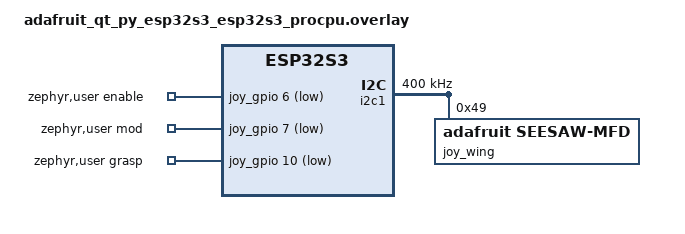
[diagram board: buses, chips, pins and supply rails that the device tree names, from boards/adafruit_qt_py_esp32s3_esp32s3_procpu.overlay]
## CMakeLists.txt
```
cmake_minimum_required(VERSION 3.20.0)

find_package(Zephyr REQUIRED HINTS $ENV{ZEPHYR_BASE})
project(joystick_controller)

# Must be set before picoros.cmake is included.
set(PICOROS_USER_TYPE_FILE "${CMAKE_CURRENT_LIST_DIR}/src/teleop_types.h")
include(${CMAKE_CURRENT_LIST_DIR}/../common/picoros/picoros.cmake)
include(${CMAKE_CURRENT_LIST_DIR}/../common/time/time.cmake)

# The main loop owns reconnects so it can force an enable re-toggle; zenoh's own
# silent reopen would resume publishing behind its back.
zephyr_compile_definitions(Z_FEATURE_AUTO_RECONNECT=0)

target_sources(app PRIVATE
  src/main.c
  src/teleop.c
  src/calibrate.c
)
```

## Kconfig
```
mainmenu "Joystick controller"

choice APP_TELEOP_TARGET
	prompt "What the stick drives"
	default APP_TELEOP_TARGET_ARM

config APP_TELEOP_TARGET_ARM
	bool "Arm end effector (MoveIt Servo)"
	help
	  geometry_msgs/TwistStamped for MoveIt Servo; the mod input switches
	  the stick from x/y/yaw to lift/pitch/roll, and the grasp input
	  publishes std_msgs/Bool. Servo drops commands whose stamp is older
	  than its incoming_command_timeout (0.1 s by default), so this needs
	  SNTP time agreeing with the ROS host: point APP_TIME_SNTP_SERVER at
	  the host's NTP server.

config APP_TELEOP_TARGET_BASE
	bool "Mobile base (cmd_vel)"
	help
	  geometry_msgs/Twist on cmd_vel; mod and grasp are ignored.

endchoice

menuconfig APP_PICOROS
	bool "Publish teleop commands over Pico-ROS"
	select PICOROS
	default y

if APP_PICOROS

config APP_PICOROS_LOCATOR
	string "Zenoh locator for the host router"
	default "tcp/192.168.1.10:7447"
	help
	  '<protocol>/<host>:<port>' of the rmw_zenohd router on the ROS 2 host.

config APP_PICOROS_NODE_NAME
	string "ROS 2 node name"
	default "joystick_controller"

config APP_PICOROS_DOMAIN_ID
	int "ROS domain ID"
	default 0
	range 0 232

config APP_PICOROS_CMD_VEL_TOPIC
	string "ROS topic for geometry_msgs/Twist"
	default "cmd_vel"
	depends on APP_TELEOP_TARGET_BASE
	help
	  Fully qualified topic name without the leading slash.

config APP_PICOROS_SERVO_TOPIC
	string "ROS topic for geometry_msgs/TwistStamped"
	default "servo_node/delta_twist_cmds"
	depends on APP_TELEOP_TARGET_ARM
	help
	  MoveIt Servo's cartesian_command_in_topic, fully qualified, without
	  the leading slash.

config APP_PICOROS_SERVO_FRAME_ID
	string "Frame the twist is expressed in"
	default "base_link"
	depends on APP_TELEOP_TARGET_ARM
	help
	  Servo transforms the command from this frame into its planning
	  frame; use the end-effector frame to jog in tool coordinates.

config APP_PICOROS_GRASP_TOPIC
	string "ROS topic for the grasp std_msgs/Bool"
	default "grasp"
	depends on APP_TELEOP_TARGET_ARM

endif # APP_PICOROS

config APP_TELEOP_PUBLISH_HZ
	int "Twist publish rate while the stick is deflected"
	default 20
	range 1 100
	help
	  Keep the period well inside the robot's command timeout (e.g.
	  twist_mux timeouts), which is what stops the robot if this controller
	  loses power or its link.

config APP_TELEOP_MAX_LINEAR_MM_S
	int "Linear speed at full stick deflection (mm/s)"
	default 500

config APP_TELEOP_MAX_ANGULAR_MRAD_S
	int "Angular speed at full twist deflection (mrad/s)"
	default 1000

rsource "../common/picoros/Kconfig"
rsource "../common/time/Kconfig"

source "Kconfig.zephyr"
```

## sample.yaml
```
# This file is provided so that the application can be compiled using Twister,
# the Zephyr testing tool. In this file, multiple combinations can be specified,
# so that you can easily test all of them locally or in CI.
sample:
  description: Joystick controller application
  name: joystick-controller 
common:
  build_only: true
  integration_platforms:
    - adafruit_qt_py_esp32s3/esp32s3/procpu
tests:
  app.default: {}
#  app.debug:
#    extra_overlay_confs:
#      - debug.conf
```

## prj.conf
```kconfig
CONFIG_LOG=y
CONFIG_SHELL=y

# Bootloader
CONFIG_BOOTLOADER_MCUBOOT=y
CONFIG_MCUBOOT_SIGNATURE_KEY_FILE="bootloader/mcuboot/root-rsa-2048.pem"
CONFIG_FLASH=y
CONFIG_FLASH_MAP=y

# Settings: persists analog-axis calibration (teleop cal)
CONFIG_ZMS=y
CONFIG_SETTINGS=y

# Inputs: analog-axis + gpio-keys from devicetree
CONFIG_INPUT=y
CONFIG_ADC=y

# Networking. The link (Wi-Fi or Ethernet) comes from the board .conf.
CONFIG_NETWORKING=y
CONFIG_NET_IPV4=y
CONFIG_NET_DHCPV4=y
CONFIG_NET_TCP=y
CONFIG_NET_SOCKETS=y
CONFIG_NET_MGMT=y
CONFIG_NET_MGMT_EVENT=y
CONFIG_NET_CONNECTION_MANAGER=y
CONFIG_DNS_RESOLVER=y
# A 2 KB zenoh batch spans 16 of the 128-byte TX buffers (see rasprover).
CONFIG_NET_BUF_TX_COUNT=64
CONFIG_NET_PKT_TX_COUNT=24

# Pico-ROS / zenoh-pico. Sizing rationale in applications/rasprover/prj.conf.
CONFIG_ZENOH_PICO_LINK_TCP=y
CONFIG_ZENOH_PICO_THREADS_NUM=2
CONFIG_MAIN_STACK_SIZE=4096
CONFIG_HEAP_MEM_POOL_SIZE=73728

# MoveIt Servo rejects stamps older than 0.1 s: resync often enough that
# crystal drift (~50 ppm) stays a few ms. Ignored when time sync is off.
CONFIG_APP_TIME_SNTP_RESYNC_SEC=60
```

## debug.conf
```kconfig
# compiler
CONFIG_DEBUG_OPTIMIZATIONS=y

# Make Logging more responsive for better visualization
CONFIG_LOG_PROCESS_TRIGGER_THRESHOLD=1

# Shell Testing
CONFIG_I2C_SHELL=y
# Bench bring-up: `input dump on` for stick events, `gpio get` for the
# enable/mod/grasp switches, `net iface` for the link and DHCP state.
CONFIG_INPUT_SHELL=y
CONFIG_INPUT_EVENT_DUMP=y
CONFIG_GPIO_SHELL=y
CONFIG_NET_SHELL=y
```

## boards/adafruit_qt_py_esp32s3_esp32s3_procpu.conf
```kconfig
# Wi-Fi via conn_mgr + stored credentials (rosterloh-drivers wifi_connectivity).
# Provision over the shell: wifi cred add -s <ssid> -k 1 -p <psk>
CONFIG_WIFI=y
CONFIG_NET_L2_WIFI_MGMT=y
CONFIG_NET_CONNECTION_MANAGER_CONNECTIVITY_WIFI_MGMT=y
CONFIG_WIFI_CREDENTIALS=y
CONFIG_WIFI_CONNECTIVITY=y
CONFIG_NET_L2_WIFI_SHELL=y
# Wi-Fi reconnect runs on the system workqueue (see rasprover prj.conf).
CONFIG_SYSTEM_WORKQUEUE_STACK_SIZE=3072

CONFIG_I2C=y
```

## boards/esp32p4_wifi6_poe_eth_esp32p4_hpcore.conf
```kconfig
# Wired Ethernet (RMII EMAC + IP101 PHY), DHCP from prj.conf.
CONFIG_NET_L2_ETHERNET=y
CONFIG_ETH_ESP32=y
# Hard FPU: without sharing, float registers aren't saved across thread switches.
CONFIG_FPU_SHARING=y
```

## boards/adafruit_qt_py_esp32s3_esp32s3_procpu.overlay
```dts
#include <zephyr/dt-bindings/adc/adc.h>
#include <zephyr/dt-bindings/gpio/gpio.h>
#include <zephyr/dt-bindings/input/input-event-codes.h>

/*
 * Adafruit Joy FeatherWing (seesaw SAMD09 @ 0x49) on the STEMMA QT bus.
 * 2-axis stick only, so no yaw (or roll with mod). Enable = button A, held
 * (momentary, so it acts as a deadman); mod = B; grasp = X.
 *
 * Verify on hardware: the X/Y channel order, the invert flags and button A's
 * pin. From Adafruit's Joy FeatherWing guide: stick on seesaw pins 2/3
 * (logical ADC 0/1), buttons A=6, B=7, Y=9, X=10, Select=14. The INT pin is
 * not wired to the QT Py, so the buttons are polled.
 *
 * Needs rosterloh/zephyr-drivers#50 (SAMD09 ADC channel offset); before it,
 * channels 0/1 read the unconnected inputs 2/3.
 */

&i2c1 {
	clock-frequency = <I2C_BITRATE_FAST>;

	joy_wing: seesaw@49 {
		compatible = "adafruit,seesaw-mfd";
		reg = <0x49>;

		joy_adc: adc {
			compatible = "adafruit,seesaw-adc";
			#io-channel-cells = <1>;
			#address-cells = <1>;
			#size-cells = <0>;

			channel@0 {
				reg = <0>;
				zephyr,gain = "ADC_GAIN_1";
				zephyr,reference = "ADC_REF_INTERNAL";
				zephyr,acquisition-time = <ADC_ACQ_TIME_DEFAULT>;
				zephyr,resolution = <10>;
			};

			channel@1 {
				reg = <1>;
				zephyr,gain = "ADC_GAIN_1";
				zephyr,reference = "ADC_REF_INTERNAL";
				zephyr,acquisition-time = <ADC_ACQ_TIME_DEFAULT>;
				zephyr,resolution = <10>;
			};
		};

		joy_gpio: gpio {
			compatible = "adafruit,seesaw-gpio";
			gpio-controller;
			#gpio-cells = <2>;
		};
	};
};

/ {
	joystick: analog-axis {
		compatible = "analog-axis";
		poll-period-ms = <15>;

		axis-x {
			io-channels = <&joy_adc 0>;
			in-min = <0>;
			in-max = <1023>;
			in-deadzone = <40>;
			out-min = <(-1000)>;
			out-max = <1000>;
			zephyr,axis = <INPUT_ABS_X>;
		};

		axis-y {
			io-channels = <&joy_adc 1>;
			in-min = <0>;
			in-max = <1023>;
			in-deadzone = <40>;
			out-min = <(-1000)>;
			out-max = <1000>;
			zephyr,axis = <INPUT_ABS_Y>;
		};
	};

	/* Read directly by main every tick: if the seesaw stops answering, the
	 * read fails and every button counts as off instead of stuck on.
	 */
	zephyr,user {
		enable-gpios = <&joy_gpio 6 (GPIO_ACTIVE_LOW | GPIO_PULL_UP)>;
		mod-gpios = <&joy_gpio 7 (GPIO_ACTIVE_LOW | GPIO_PULL_UP)>;
		grasp-gpios = <&joy_gpio 10 (GPIO_ACTIVE_LOW | GPIO_PULL_UP)>;
	};
};
```

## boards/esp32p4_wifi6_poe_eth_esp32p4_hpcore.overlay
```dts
#include <zephyr/dt-bindings/adc/adc.h>
#include <zephyr/dt-bindings/gpio/gpio.h>
#include <zephyr/dt-bindings/input/input-event-codes.h>

/*
 * HZQS R400B-M4 4-axis joystick (10 kOhm pots, 50 degrees: the full stick
 * travel, so close to the full ADC range) in mechanical-parts/joystick-p4-box,
 * with its enable rocker and mod button, on the Raspberry Pi layout header:
 *
 *   input   GPIO  header pin   wiring
 *   X       20    13           X pot wiper (ADC1 ch4)
 *   Y       21    11           Y pot wiper (ADC1 ch5)
 *   Z       22    12           handle pot black, its wiper (ADC1 ch6)
 *   pots    -     1 / 6        3V3 / GND: handle pot red / white, X and Y pot
 *                              outer lugs daisy-chained to them
 *   grasp   23    7            handle button, blue/blue, other side to GND
 *   enable  6     15           Arcolectric H8600 rocker (latching), to GPIO5
 *   (gnd)   5     16           driven low by a hog: the rocker's 2x1 plug
 *                              has no GND beside pin 15
 *   mod     48    33           RAFI 1.10.001.001 button (normally closed), to GND pin 34
 *
 * Not the BOOT button: GPIO35 is shared with RMII TXD1 while Ethernet is up.
 * in-min/in-max are full scale until `teleop cal` stores the real range. Which
 * outer pot lug gets 3V3 sets the axis sign; fix a wrong one with
 * invert-output.
 */

&adc0 {
	#address-cells = <1>;
	#size-cells = <0>;
	status = "okay";

	channel@4 {
		reg = <4>;
		zephyr,gain = "ADC_GAIN_1_4";
		zephyr,reference = "ADC_REF_INTERNAL";
		zephyr,acquisition-time = <ADC_ACQ_TIME_DEFAULT>;
		zephyr,resolution = <12>;
	};

	channel@5 {
		reg = <5>;
		zephyr,gain = "ADC_GAIN_1_4";
		zephyr,reference = "ADC_REF_INTERNAL";
		zephyr,acquisition-time = <ADC_ACQ_TIME_DEFAULT>;
		zephyr,resolution = <12>;
	};

	channel@6 {
		reg = <6>;
		zephyr,gain = "ADC_GAIN_1_4";
		zephyr,reference = "ADC_REF_INTERNAL";
		zephyr,acquisition-time = <ADC_ACQ_TIME_DEFAULT>;
		zephyr,resolution = <12>;
	};
};

&gpio0 {
	enable-gnd-hog {
		gpio-hog;
		gpios = <5 GPIO_ACTIVE_HIGH>;
		output-low;
		line-name = "enable-gnd";
	};
};

/ {
	/* One analog-axis per channel: without CONFIG_ADC_ESP32_DMA the ESP32 ADC
	 * driver rejects multi-channel sequences with -ENOTSUP.
	 */
	stick_x: stick-x {
		compatible = "analog-axis";
		poll-period-ms = <15>;

		axis {
			io-channels = <&adc0 4>;
			in-min = <0>;
			in-max = <4095>;
			in-deadzone = <80>;
			out-min = <(-1000)>;
			out-max = <1000>;
			zephyr,axis = <INPUT_ABS_X>;
		};
	};

	stick_y: stick-y {
		compatible = "analog-axis";
		poll-period-ms = <15>;

		axis {
			io-channels = <&adc0 5>;
			in-min = <0>;
			in-max = <4095>;
			in-deadzone = <80>;
			out-min = <(-1000)>;
			out-max = <1000>;
			zephyr,axis = <INPUT_ABS_Y>;
		};
	};

	stick_rz: stick-rz {
		compatible = "analog-axis";
		poll-period-ms = <15>;

		axis {
			io-channels = <&adc0 6>;
			/* Clockwise raises the wiper; ROS wants anticlockwise positive.
			 * Needs zephyr/patches 0004 for a signed out range.
			 */
			invert-output;
			in-min = <0>;
			in-max = <4095>;
			in-deadzone = <80>;
			out-min = <(-1000)>;
			out-max = <1000>;
			zephyr,axis = <INPUT_ABS_RZ>;
		};
	};

	/* Read directly by main every tick, so a failed read counts as off. */
	zephyr,user {
		enable-gpios = <&gpio0 6 (GPIO_ACTIVE_LOW | GPIO_PULL_UP)>;
		/* Normally closed: shorted to GND at rest, so pressed reads high. */
		mod-gpios = <&gpio1 16 (GPIO_ACTIVE_HIGH | GPIO_PULL_UP)>; /* GPIO48 */
		grasp-gpios = <&gpio0 23 (GPIO_ACTIVE_LOW | GPIO_PULL_UP)>;
	};
};
```

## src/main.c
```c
#include <string.h>

#include <zephyr/drivers/gpio.h>
#include <zephyr/input/input.h>
#include <zephyr/kernel.h>
#include <zephyr/logging/log.h>
#include <zephyr/net/conn_mgr_connectivity.h>
#include <zephyr/net/conn_mgr_monitor.h>
#include <zephyr/net/dhcpv4.h>
#include <zephyr/net/ethernet.h>
#include <zephyr/net/net_event.h>
#include <zephyr/net/net_if.h>
#include <zephyr/net/net_mgmt.h>
#include <zephyr/settings/settings.h>

#include <picoros.h>
#include <picoserdes.h>

#include "app_time.h"
#include "teleop.h"

LOG_MODULE_REGISTER(app, LOG_LEVEL_INF);

#define PERIOD_MS   (1000 / CONFIG_APP_TELEOP_PUBLISH_HZ)
#define RETRY_DELAY K_SECONDS(2)
#define ARM         IS_ENABLED(CONFIG_APP_TELEOP_TARGET_ARM)
/* ps_serialize cannot report overflow, so this must stay a worst case. Twist is
 * 4 (encapsulation) + 6 doubles = 52 bytes. TwistStamped adds the header before
 * the doubles: stamp 8, frame_id length 4 plus its bytes and NUL, then up to 7
 * of padding to align the first double: 71 + sizeof(frame_id).
 */
#ifdef CONFIG_APP_TELEOP_TARGET_ARM
#define MSG_BUF_SIZE (72 + sizeof(CONFIG_APP_PICOROS_SERVO_FRAME_ID))
#else
#define MSG_BUF_SIZE 64
#endif

static atomic_t axis_x, axis_y, axis_rz, l4_up;

#define USER_NODE DT_PATH(zephyr_user)
static const struct gpio_dt_spec enable_sw = GPIO_DT_SPEC_GET(USER_NODE, enable_gpios);
/* Optional: a board without them never shifts the stick or grasps. */
static const struct gpio_dt_spec mod_sw = GPIO_DT_SPEC_GET_OR(USER_NODE, mod_gpios, {0});
static const struct gpio_dt_spec grasp_sw = GPIO_DT_SPEC_GET_OR(USER_NODE, grasp_gpios, {0});

static int switch_init(const struct gpio_dt_spec *sw)
{
	if (sw->port == NULL) {
		return 0;
	}
	if (!gpio_is_ready_dt(sw)) {
		return -ENODEV;
	}
	return gpio_pin_configure_dt(sw, GPIO_INPUT);
}

/* Absent, or a failed read (e.g. seesaw I2C gone), counts as off. */
static bool switch_on(const struct gpio_dt_spec *sw)
{
	return sw->port != NULL && gpio_pin_get_dt(sw) > 0;
}

static void input_cb(struct input_event *evt, void *user_data)
{
	ARG_UNUSED(user_data);

	switch (evt->code) {
	case INPUT_ABS_X:
		atomic_set(&axis_x, evt->value);
		break;
	case INPUT_ABS_Y:
		atomic_set(&axis_y, evt->value);
		break;
	case INPUT_ABS_RZ:
		atomic_set(&axis_rz, evt->value);
		break;
	default:
		break;
	}
}
INPUT_CALLBACK_DEFINE(NULL, input_cb, NULL);

static struct net_mgmt_event_callback l4_cb;

static void l4_handler(struct net_mgmt_event_callback *cb, uint64_t event, struct net_if *iface)
{
	atomic_set(&l4_up, event == NET_EVENT_L4_CONNECTED);
}

static picoros_node_t node = {
	.name = CONFIG_APP_PICOROS_NODE_NAME,
	.domain_id = CONFIG_APP_PICOROS_DOMAIN_ID,
};

/* ROSTYPE_NAME token-pastes its argument, so the type can't come from a macro. */
#ifdef CONFIG_APP_TELEOP_TARGET_ARM
static picoros_publisher_t pub_twist = {
	.topic =
		{
			.name = CONFIG_APP_PICOROS_SERVO_TOPIC,
			.type = ROSTYPE_NAME(ros_TwistStamped),
			.rihs_hash = ROSTYPE_HASH(ros_TwistStamped),
		},
};

static picoros_publisher_t pub_grasp = {
	.topic =
		{
			.name = CONFIG_APP_PICOROS_GRASP_TOPIC,
			.type = ROSTYPE_NAME(ros_Bool),
			.rihs_hash = ROSTYPE_HASH(ros_Bool),
		},
};

static picoros_publisher_t *const pubs[] = {&pub_twist, &pub_grasp};
#else
static picoros_publisher_t pub_twist = {
	.topic =
		{
			.name = CONFIG_APP_PICOROS_CMD_VEL_TOPIC,
			.type = ROSTYPE_NAME(ros_Twist),
			.rihs_hash = ROSTYPE_HASH(ros_Twist),
		},
};

static picoros_publisher_t *const pubs[] = {&pub_twist};
#endif

/* ps_serialize writes the CDR header as a uint32_t store: Xtensa faults on unaligned. */
static uint8_t msg_buf[MSG_BUF_SIZE] __aligned(4);

static bool ros_connect(void)
{
	picoros_interface_t ifx = {
		.mode = "client",
		.locator = CONFIG_APP_PICOROS_LOCATOR,
	};

	if (picoros_interface_init(&ifx) != PICOROS_OK) {
		LOG_WRN("router %s unreachable", ifx.locator);
		return false;
	}
	if (picoros_node_init(&node) != PICOROS_OK) {
		LOG_ERR("node init failed");
		picoros_interface_close();
		return false;
	}
	for (size_t i = 0; i < ARRAY_SIZE(pubs); i++) {
		if (picoros_publisher_declare(&node, pubs[i]) != PICOROS_OK) {
			LOG_ERR("publisher declare failed for '%s'", pubs[i]->topic.name);
			while (i-- > 0) {
				picoros_publisher_drop(pubs[i]);
			}
			picoros_node_drop(&node);
			picoros_interface_close();
			return false;
		}
		LOG_INF("publishing on /%s", pubs[i]->topic.name);
	}

	return true;
}

static void ros_disconnect(void)
{
	for (size_t i = 0; i < ARRAY_SIZE(pubs); i++) {
		picoros_publisher_drop(pubs[i]);
	}
	picoros_node_drop(&node);
	picoros_interface_close();
}

static bool publish_buf(picoros_publisher_t *pub, size_t len)
{
	return len > 0 && picoros_publish(pub, msg_buf, len) == PICOROS_OK;
}

static bool publish_twist(const struct teleop_twist *t)
{
	ros_Twist twist = {
		.linear = {.x = t->linear_x, .y = t->linear_y, .z = t->linear_z},
		.angular = {.x = t->angular_x, .y = t->angular_y, .z = t->angular_z},
	};

	/* Micro-CDR skips padding without writing it; zero so no stale bytes leak. */
	memset(msg_buf, 0, sizeof(msg_buf));
#ifdef CONFIG_APP_TELEOP_TARGET_ARM
	const struct app_ros_time now = app_time_now();
	ros_TwistStamped msg = {
		.header =
			{
				.stamp = {.sec = (int32_t)now.sec, .nanosec = now.nanosec},
				/* rstring is char*; picoserdes only reads it when serializing. */
				.frame_id = (rstring)CONFIG_APP_PICOROS_SERVO_FRAME_ID,
			},
		.twist = twist,
	};

	if (!app_time_synced()) {
		LOG_WRN_ONCE("no SNTP time yet: Servo drops unstamped commands");
	}
	return publish_buf(&pub_twist, ps_serialize(msg_buf, &msg, sizeof(msg_buf)));
#else
	return publish_buf(&pub_twist, ps_serialize(msg_buf, &twist, sizeof(msg_buf)));
#endif
}

#ifdef CONFIG_APP_TELEOP_TARGET_ARM
static bool publish_grasp(bool grasp)
{
	memset(msg_buf, 0, sizeof(msg_buf));
	return publish_buf(&pub_grasp, ps_serialize(msg_buf, &grasp, sizeof(msg_buf)));
}
#endif

int main(void)
{
	const struct teleop_limits lim = {
		.max_linear = CONFIG_APP_TELEOP_MAX_LINEAR_MM_S / 1000.0,
		.max_angular = CONFIG_APP_TELEOP_MAX_ANGULAR_MRAD_S / 1000.0,
	};
	struct teleop_state state;
	bool connected = false;

	teleop_reset(&state);
	if (switch_init(&enable_sw) || switch_init(&mod_sw) || switch_init(&grasp_sw)) {
		LOG_ERR("enable, mod or grasp switch unavailable");
		return -ENODEV;
	}

	settings_subsys_init();
	settings_load();

	net_mgmt_init_event_callback(&l4_cb, l4_handler,
				     NET_EVENT_L4_CONNECTED | NET_EVENT_L4_DISCONNECTED);
	net_mgmt_add_event_callback(&l4_cb);
	conn_mgr_mon_resend_status();
	conn_mgr_all_if_connect(true);
#ifdef CONFIG_NET_L2_ETHERNET
	/* The Wi-Fi driver starts DHCP on association; nothing does for Ethernet. */
	struct net_if *eth = net_if_get_first_by_type(&NET_L2_GET_NAME(ETHERNET));

	if (eth != NULL) {
		net_dhcpv4_start(eth);
	}
#endif
	app_time_start();

	for (;;) {
		if (!connected) {
			teleop_reset(&state);
			if (atomic_get(&l4_up) && ros_connect()) {
				connected = true;
			} else {
				k_sleep(RETRY_DELAY);
			}
			continue;
		}

		const struct teleop_input in = {
			.enable = switch_on(&enable_sw),
			.mod = ARM && switch_on(&mod_sw),
			.grasp = ARM && switch_on(&grasp_sw),
			.x = atomic_get(&axis_x),
			.y = atomic_get(&axis_y),
			.rz = atomic_get(&axis_rz),
		};
		struct teleop_twist out;
		bool ok = atomic_get(&l4_up) && picoros_interface_is_up();

		if (ok && teleop_step(&state, &in, &lim, &out)) {
			ok = publish_twist(&out);
		}
#ifdef CONFIG_APP_TELEOP_TARGET_ARM
		bool grasp;

		if (ok && teleop_grasp_step(&state, &in, &grasp)) {
			ok = publish_grasp(grasp);
		}
#endif
		if (!ok) {
			LOG_WRN("link lost, reconnecting");
			ros_disconnect();
			connected = false;
			continue;
		}

		k_msleep(PERIOD_MS);
	}

	return 0;
}
```

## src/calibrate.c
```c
#include <string.h>

#include <zephyr/device.h>
#include <zephyr/input/input_analog_axis.h>
#include <zephyr/input/input_analog_axis_settings.h>
#include <zephyr/shell/shell.h>

#include "teleop.h"

/* Boards may split axes across several analog-axis nodes (the ESP32 ADC
 * cannot read more than one channel per sequence without DMA).
 */
#define STICK_DEV(node) DEVICE_DT_GET(node),
static const struct device *const sticks[] = {DT_FOREACH_STATUS_OKAY(analog_axis, STICK_DEV)};

#define MAX_AXES_PER_DEV 3
/* Each side of rest must travel this far beyond the deadzone. */
#define MIN_SPAN         100

static struct {
	bool seen;
	int16_t rest, min, max;
} cal[ARRAY_SIZE(sticks)][MAX_AXES_PER_DEV];
static bool running;

/* Runs on the analog-axis threads; the first sample after start is rest. */
static void raw_cb(const struct device *dev, int channel, int16_t raw)
{
	for (size_t d = 0; d < ARRAY_SIZE(sticks); d++) {
		if (sticks[d] != dev || channel < 0 || channel >= MAX_AXES_PER_DEV) {
			continue;
		}
		if (!cal[d][channel].seen) {
			cal[d][channel].seen = true;
			cal[d][channel].rest = cal[d][channel].min = cal[d][channel].max = raw;
			return;
		}
		cal[d][channel].min = MIN(cal[d][channel].min, raw);
		cal[d][channel].max = MAX(cal[d][channel].max, raw);
		return;
	}
}

static int num_axes(size_t d)
{
	return MIN(analog_axis_num_axes(sticks[d]), MAX_AXES_PER_DEV);
}

static int cmd_start(const struct shell *sh, size_t argc, char **argv)
{
	memset(cal, 0, sizeof(cal));
	running = true;
	for (size_t d = 0; d < ARRAY_SIZE(sticks); d++) {
		analog_axis_set_raw_data_cb(sticks[d], raw_cb);
	}
	shell_print(sh, "Leave the stick at rest, then move every axis to both limits and run "
			"'teleop cal stop'");
	return 0;
}

static int cmd_stop(const struct shell *sh, size_t argc, char **argv)
{
	struct analog_axis_calibration c[ARRAY_SIZE(sticks)][MAX_AXES_PER_DEV];

	if (!running) {
		shell_error(sh, "run 'teleop cal start' first");
		return -EINVAL;
	}
	for (size_t d = 0; d < ARRAY_SIZE(sticks); d++) {
		analog_axis_set_raw_data_cb(sticks[d], NULL);
	}
	running = false;

	/* Validate everything before touching any stored calibration. */
	for (size_t d = 0; d < ARRAY_SIZE(sticks); d++) {
		for (int i = 0; i < num_axes(d); i++) {
			analog_axis_calibration_get(sticks[d], i, &c[d][i]);
			if (!cal[d][i].seen ||
			    !teleop_cal_symmetric(cal[d][i].rest, cal[d][i].min, cal[d][i].max,
						  c[d][i].in_deadzone + MIN_SPAN, &c[d][i].in_min,
						  &c[d][i].in_max)) {
				shell_error(sh,
					    "%s axis %d: rest %d seen %d..%d, move it to both "
					    "limits; nothing saved",
					    sticks[d]->name, i, cal[d][i].rest, cal[d][i].min,
					    cal[d][i].max);
				return -EINVAL;
			}
		}
	}

	for (size_t d = 0; d < ARRAY_SIZE(sticks); d++) {
		for (int i = 0; i < num_axes(d); i++) {
			analog_axis_calibration_set(sticks[d], i, &c[d][i]);
			shell_print(sh, "%s axis %d: rest %d -> in %d..%d", sticks[d]->name, i,
				    cal[d][i].rest, c[d][i].in_min, c[d][i].in_max);
		}
		int err = analog_axis_calibration_save(sticks[d]);

		if (err) {
			shell_error(sh, "%s: save failed (%d)", sticks[d]->name, err);
			return err;
		}
	}
	return 0;
}

static int cmd_show(const struct shell *sh, size_t argc, char **argv)
{
	for (size_t d = 0; d < ARRAY_SIZE(sticks); d++) {
		for (int i = 0; i < analog_axis_num_axes(sticks[d]); i++) {
			struct analog_axis_calibration c;

			analog_axis_calibration_get(sticks[d], i, &c);
			shell_print(sh, "%s axis %d: in %d..%d deadzone %u", sticks[d]->name, i,
				    c.in_min, c.in_max, c.in_deadzone);
		}
	}
	return 0;
}

SHELL_STATIC_SUBCMD_SET_CREATE(sub_cal,
			       SHELL_CMD(start, NULL, "Start recording (stick at rest)", cmd_start),
			       SHELL_CMD(stop, NULL, "Store the recorded range", cmd_stop),
			       SHELL_CMD(show, NULL, "Print the current calibration", cmd_show),
			       SHELL_SUBCMD_SET_END);
SHELL_STATIC_SUBCMD_SET_CREATE(sub_teleop, SHELL_CMD(cal, &sub_cal, "Joystick calibration", NULL),
			       SHELL_SUBCMD_SET_END);
SHELL_CMD_REGISTER(teleop, &sub_teleop, "Teleop controller", NULL);
```

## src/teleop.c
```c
#include <zephyr/sys/util.h>

#include "teleop.h"

static double scale(int16_t v, double max)
{
	return CLAMP(v, -TELEOP_AXIS_MAX, TELEOP_AXIS_MAX) * max / TELEOP_AXIS_MAX;
}

/* analog-axis reports exactly 0 inside its deadzone. */
static bool centred(const struct teleop_input *in)
{
	return in->x == 0 && in->y == 0 && in->rz == 0;
}

static bool stop(struct teleop_state *s, struct teleop_twist *out)
{
	if (!s->active) {
		return false;
	}
	s->active = false;
	*out = (struct teleop_twist){0};
	return true;
}

bool teleop_step(struct teleop_state *s, const struct teleop_input *in,
		 const struct teleop_limits *lim, struct teleop_twist *out)
{
	if (s->blocked) {
		s->blocked = in->enable;
		return false;
	}

	if (!in->enable || in->mod != s->mod) {
		s->armed = false;
		s->mod = in->mod;
		if (stop(s, out)) {
			return true;
		}
		if (!in->enable) {
			return false;
		}
		/* Nothing owed: a centred stick can arm on this same tick. */
	}

	if (!s->armed) {
		s->armed = centred(in);
		return false;
	}

	if (centred(in)) {
		return stop(s, out);
	}

	s->active = true;
	*out = (struct teleop_twist){0};
	if (in->mod) {
		out->linear_z = scale(in->y, lim->max_linear);
		out->angular_y = scale(in->x, lim->max_angular);
		out->angular_x = scale(in->rz, lim->max_angular);
	} else {
		out->linear_x = scale(in->y, lim->max_linear);
		out->linear_y = scale(in->x, lim->max_linear);
		out->angular_z = scale(in->rz, lim->max_angular);
	}
	return true;
}

bool teleop_grasp_step(struct teleop_state *s, const struct teleop_input *in, bool *grasp)
{
	if (s->blocked || !in->enable || in->grasp == s->grasp) {
		return false;
	}
	s->grasp = in->grasp;
	*grasp = in->grasp;
	return true;
}

void teleop_reset(struct teleop_state *s)
{
	*s = (struct teleop_state){.blocked = true};
}

bool teleop_cal_symmetric(int16_t rest, int16_t seen_min, int16_t seen_max, int16_t min_span,
			  int16_t *in_min, int16_t *in_max)
{
	int16_t span = MIN(rest - seen_min, seen_max - rest);

	if (span < min_span) {
		return false;
	}

	*in_min = rest - span;
	*in_max = rest + span;
	return true;
}
```

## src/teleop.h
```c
#ifndef TELEOP_H_
#define TELEOP_H_

#include <stdbool.h>
#include <stdint.h>

/* analog-axis out-max; out-min is -TELEOP_AXIS_MAX */
#define TELEOP_AXIS_MAX 1000

struct teleop_limits {
	double max_linear;  /* m/s */
	double max_angular; /* rad/s */
};

struct teleop_input {
	bool enable;
	bool mod; /* stick drives lift/pitch/roll instead of x/y/yaw */
	bool grasp;
	int16_t x;
	int16_t y;
	int16_t rz;
};

struct teleop_twist {
	double linear_x;
	double linear_y;
	double linear_z;
	double angular_x;
	double angular_y;
	double angular_z;
};

/* Start from teleop_reset(): blocked until enable is seen off, so a latched
 * enable switch left on at power-up or across a link drop sends nothing.
 */
struct teleop_state {
	bool active;  /* last published twist was motion, so a stop is owed */
	bool blocked; /* enable must be seen off before anything is sent */
	bool armed;   /* stick seen centred since enable, or since mod last changed */
	bool mod;     /* the mod level that arming applies to */
	bool grasp;   /* last grasp level published */
};

/* Returns true when *out must be published this tick: motion while the stick
 * is deflected, then one all-zero twist when it centres, enable goes off or
 * mod changes. Silent otherwise, so lower-priority command sources aren't
 * blocked. After enable or a mod change the stick must centre before it
 * drives anything.
 */
bool teleop_step(struct teleop_state *s, const struct teleop_input *in,
		 const struct teleop_limits *lim, struct teleop_twist *out);

/* Call after teleop_step() each tick. Returns true when *grasp must be
 * published: its level changed while enabled and not blocked.
 */
bool teleop_grasp_step(struct teleop_state *s, const struct teleop_input *in, bool *grasp);

/* Boot and link lost: go inactive and ignore enable until it is seen off. */
void teleop_reset(struct teleop_state *s);

/* Largest span symmetric about rest that fits inside [seen_min, seen_max].
 * Returns false, leaving the outputs untouched, if either side of rest moved
 * less than min_span (stick only swept one way, or was not at rest at start).
 */
bool teleop_cal_symmetric(int16_t rest, int16_t seen_min, int16_t seen_max, int16_t min_span,
			  int16_t *in_min, int16_t *in_max);

#endif /* TELEOP_H_ */
```

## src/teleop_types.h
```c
#ifndef TELEOP_TYPES_H
#define TELEOP_TYPES_H

/* picoserdes MSG_LIST: only the types this app publishes. Names and RIHS01
 * hashes copied from Pico-ROS examples/example_types.h.
 */

/* clang-format off */

#define MSG_LIST(BTYPE, CTYPE, TTYPE, FIELD, ARRAY, SEQUENCE) \
    BTYPE(ros_Bool, \
        "std_msgs::msg::dds_::Bool", \
        "feb91e995ff9ebd09c0cb3d2aed18b11077585839fb5db80193b62d74528f6c9", \
        bool \
    ) \
    CTYPE(ros_Time, \
        "builtin_interfaces::msg::dds_::Time", \
        "b106235e25a4c5ed35098aa0a61a3ee9c9b18d197f398b0e4206cea9acf9c197", \
        FIELD(int32_t, sec) \
        FIELD(uint32_t, nanosec) \
    ) \
    CTYPE(ros_Header, \
        "std_msgs::msg::dds_::Header", \
        "f49fb3ae2cf070f793645ff749683ac6b06203e41c891e17701b1cb597ce6a01", \
        FIELD(ros_Time, stamp) \
        FIELD(rstring, frame_id) \
    ) \
    CTYPE(ros_Vector3, \
        "geometry_msgs::msg::dds_::Vector3", \
        "cc12fe83e4c02719f1ce8070bfd14aecd40f75a96696a67a2a1f37f7dbb0765d", \
        FIELD(double, x) \
        FIELD(double, y) \
        FIELD(double, z) \
    ) \
    CTYPE(ros_Twist, \
        "geometry_msgs::msg::dds_::Twist", \
        "9c45bf16fe0983d80e3cfe750d6835843d265a9a6c46bd2e609fcddde6fb8d2a", \
        FIELD(ros_Vector3, linear) \
        FIELD(ros_Vector3, angular) \
    ) \
    CTYPE(ros_TwistStamped, \
        "geometry_msgs::msg::dds_::TwistStamped", \
        "5f0fcd4f81d5d06ad9b4c4c63e3ea51b82d6ae4d0558f1d475229b1121db6f64", \
        FIELD(ros_Header, header) \
        FIELD(ros_Twist, twist) \
    )

#define SRV_LIST(SRV, REQUEST, REPLY, FIELD, ARRAY, SEQUENCE)

/* clang-format on */

#endif /* TELEOP_TYPES_H */
```
